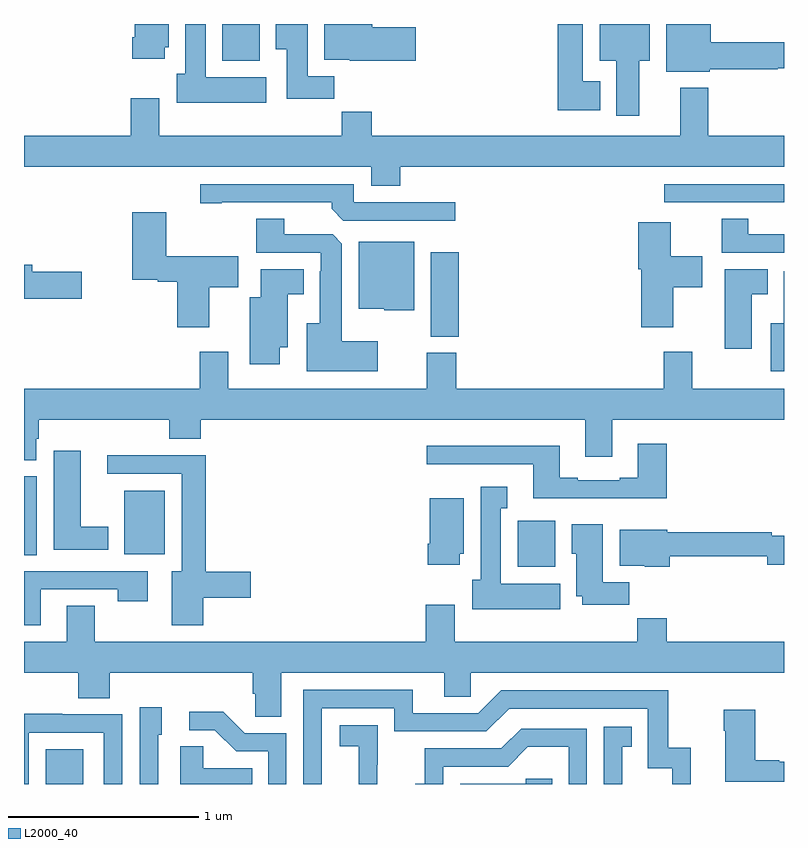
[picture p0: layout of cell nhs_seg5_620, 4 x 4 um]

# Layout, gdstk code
import gdstk
lib = gdstk.Library(unit=1e-6, precision=1e-09)
def R(c, l, rs):  # rectangles x0, y0, x1, y1
    for r in rs: c.add(gdstk.rectangle(r[:2], r[2:], *l))
def P(c, l, *ps):  # polygons
    for p in ps: c.add(gdstk.Polygon(p, *l))
L2000_40 = (2000, 40)

nhs_seg5_620 = lib.new_cell('nhs_seg5_620')
R(nhs_seg5_620, L2000_40, [(149.114,898.799,149.311,898.981), (151.598,899.942,151.795,900.184), (149,900.004,149.068,900.418), (149.528,900.008,149.74,900.343), (151.142,901.153,151.289,901.597), (152.37,901.86,153,901.956), (150.044,902.606,150.241,902.799)])
P(nhs_seg5_620, L2000_40, [(152.239,902.606),(152.293,902.606),(152.293,902.799),(152.03,902.799),(152.03,902.606),(152.117,902.606),(152.117,902.316),(152.239,902.316)],
  [(152.032,902.497),(151.942,902.497),(151.942,902.799),(151.808,902.799),(151.808,902.345),(152.032,902.345)],
  [(152.61,902.56),(152.966,902.56),(152.966,902.567),(153,902.567),(153,902.702),(152.614,902.702),(152.614,902.799),(152.381,902.799),(152.381,902.549),(152.61,902.549)],
  [(149.74,902.676),(149.761,902.676),(149.761,902.799),(149.582,902.799),(149.582,902.728),(149.57,902.728),(149.57,902.616),(149.74,902.616)],
  [(151.063,902.783),(150.832,902.783),(150.832,902.799),(150.581,902.799),(150.581,902.612),(150.714,902.612),(150.714,902.606),(151.063,902.606)],
  [(150.632,902.524),(150.493,902.524),(150.493,902.799),(150.326,902.799),(150.326,902.665),(150.383,902.665),(150.383,902.406),(150.632,902.406)],
  [(150.274,902.518),(149.956,902.518),(149.956,902.799),(149.849,902.799),(149.849,902.538),(149.804,902.538),(149.804,902.384),(150.274,902.384)],
  [(150.98,902.048),(153,902.048),(153,902.212),(152.601,902.212),(152.601,902.464),(152.453,902.464),(152.453,902.212),(150.83,902.212),(150.83,902.336),(150.673,902.336),(150.673,902.212),(149.713,902.212),(149.713,902.407),(149.561,902.407),(149.561,902.212),(149,902.212),(149,902.048),(150.827,902.048),(150.827,901.949),(150.98,901.949)],
  [(151.27,901.86),(150.735,901.86),(150.735,901.956),(149.928,901.956),(149.928,901.855),(150.04,901.855),(150.04,901.86),(150.62,901.86),(150.62,901.826),(150.681,901.764),(151.27,901.764)],
  [(149.974,901.414),(150.127,901.414),(150.127,901.576),(149.748,901.576),(149.748,901.807),(149.57,901.807),(149.57,901.454),(149.705,901.454),(149.705,901.442),(149.807,901.442),(149.807,901.203),(149.974,901.203)],
  [(153,901.692),(152.812,901.692),(152.812,901.775),(152.672,901.775),(152.672,901.596),(153,901.596)],
  [(150.862,901.129),(150.673,901.129),(150.673,901.643),(150.624,901.692),(150.37,901.692),(150.37,901.775),(150.223,901.775),(150.223,901.596),(150.561,901.596),(150.561,901.499),(150.557,901.499),(150.557,901.225),(150.488,901.225),(150.488,900.971),(150.862,900.971)],
  [(152.416,901.414),(152.569,901.414),(152.569,901.576),(152.404,901.576),(152.404,901.756),(152.234,901.756),(152.234,901.507),(152.249,901.507),(152.249,901.203),(152.416,901.203)],
  [(151.054,901.654),(150.761,901.654),(150.761,901.301),(150.897,901.301),(150.897,901.292),(151.054,901.292)],
  [(149.305,901.496),(149.044,901.496),(149.044,901.532),(149,901.532),(149,901.354),(149.305,901.354)],
  [(152.83,901.376),(152.914,901.376),(152.914,901.507),(152.687,901.507),(152.687,901.089),(152.83,901.089)],
  [(150.346,901.097),(150.388,901.097),(150.388,901.376),(150.472,901.376),(150.472,901.507),(150.245,901.507),(150.245,901.36),(150.188,901.36),(150.188,901.008),(150.346,901.008)],
  [(153,901.499),(152.999,901.499),(152.999,901.225),(152.93,901.225),(152.93,900.971),(153,900.971)],
  [(149.065,900.615),(149.078,900.615),(149.078,900.716),(149.765,900.716),(149.765,900.617),(149.93,900.617),(149.93,900.716),(151.955,900.716),(151.955,900.522),(152.095,900.522),(152.095,900.716),(153,900.716),(153,900.88),(152.518,900.88),(152.518,901.075),(152.366,901.075),(152.366,900.88),(151.274,900.88),(151.274,901.068),(151.121,901.068),(151.121,900.88),(150.076,900.88),(150.076,901.075),(149.924,901.075),(149.924,900.88),(149,900.88),(149,900.503),(149.065,900.503)],
  [(152.384,900.589),(152.231,900.589),(152.231,900.412),(152.135,900.412),(152.135,900.399),(151.915,900.399),(151.915,900.412),(151.819,900.412),(151.819,900.58),(151.119,900.58),(151.119,900.483),(151.679,900.483),(151.679,900.302),(152.384,900.302)],
  [(149.443,900.154),(149.299,900.154),(149.299,900.553),(149.156,900.553),(149.156,900.032),(149.443,900.032)],
  [(149.944,899.78),(150.193,899.78),(150.193,899.915),(149.957,899.915),(149.957,900.53),(149.439,900.53),(149.439,900.432),(149.831,900.432),(149.831,899.92),(149.777,899.92),(149.777,899.634),(149.944,899.634)],
  [(151.822,899.854),(151.51,899.854),(151.51,900.251),(151.543,900.251),(151.543,900.364),(151.403,900.364),(151.403,899.874),(151.358,899.874),(151.358,899.72),(151.822,899.72)],
  [(151.294,900.012),(151.315,900.012),(151.315,900.304),(151.136,900.304),(151.136,900.064),(151.124,900.064),(151.124,899.952),(151.294,899.952)],
  [(152.186,899.86),(152.047,899.86),(152.047,900.166),(151.883,900.166),(151.883,900.012),(151.907,900.012),(151.907,899.786),(151.937,899.786),(151.937,899.742),(152.186,899.742)],
  [(152.399,899.997),(152.912,899.997),(152.912,899.954),(153,899.954),(153,900.105),(152.936,900.105),(152.936,900.125),(152.386,900.125),(152.386,900.136),(152.135,900.136),(152.135,899.948),(152.268,899.948),(152.268,899.942),(152.399,899.942)],
  [(149.089,899.823),(149.494,899.823),(149.494,899.76),(149.65,899.76),(149.65,899.919),(149,899.919),(149,899.634),(149.089,899.634)],
  [(149.225,899.548),(149,899.548),(149,899.384),(149.285,899.384),(149.285,899.251),(149.45,899.251),(149.45,899.384),(150.203,899.384),(150.203,899.275),(150.216,899.275),(150.216,899.152),(150.355,899.152),(150.355,899.384),(151.211,899.384),(151.211,899.257),(151.35,899.257),(151.35,899.384),(153,899.384),(153,899.548),(152.384,899.548),(152.384,899.672),(152.227,899.672),(152.227,899.548),(151.267,899.548),(151.267,899.743),(151.115,899.743),(151.115,899.548),(149.373,899.548),(149.373,899.738),(149.225,899.738)],
  [(150.567,899.199),(150.948,899.199),(150.948,899.076),(151.434,899.076),(151.554,899.196),(152.283,899.196),(152.283,898.881),(152.412,898.881),(152.412,898.799),(152.51,898.799),(152.51,898.99),(152.392,898.99),(152.392,899.292),(151.512,899.292),(151.392,899.172),(151.045,899.172),(151.045,899.295),(150.471,899.295),(150.471,898.799),(150.567,898.799)],
  [(149.706,899.058),(149.725,899.058),(149.725,899.203),(149.61,899.203),(149.61,898.799),(149.706,898.799)],
  [(153,898.915),(152.975,898.915),(152.975,898.925),(152.848,898.925),(152.848,899.191),(152.683,899.191),(152.683,899.078),(152.69,899.078),(152.69,898.811),(153,898.811)],
  [(150.381,899.067),(150.162,899.067),(150.049,899.18),(149.871,899.18),(149.871,899.082),(150.005,899.082),(150.116,898.971),(150.285,898.971),(150.285,898.799),(150.381,898.799)],
  [(149.025,899.07),(149.421,899.07),(149.421,898.799),(149.517,898.799),(149.517,899.166),(149.201,899.166),(149.201,899.168),(149,899.168),(149,898.799),(149.025,898.799)],
  [(150.86,898.901),(150.861,898.901),(150.861,899.107),(150.663,899.107),(150.663,898.997),(150.761,898.997),(150.761,898.799),(150.86,898.799)],
  [(152.149,898.995),(152.198,898.995),(152.198,899.101),(152.052,899.101),(152.052,898.799),(152.149,898.799)],
  [(151.206,898.89),(151.548,898.89),(151.652,898.994),(151.866,898.994),(151.866,898.799),(151.962,898.799),(151.962,899.091),(151.616,899.091),(151.511,898.986),(151.108,898.986),(151.108,898.801),(151.059,898.801),(151.059,898.799),(151.206,898.799)],
  [(150.2,898.882),(149.943,898.882),(149.943,898.997),(149.822,898.997),(149.822,898.799),(150.2,898.799)],
  [(151.781,898.827),(151.641,898.827),(151.641,898.8),(151.296,898.8),(151.296,898.799),(151.781,898.799)])

lib.write_gds('nhs_seg5_620.gds')
